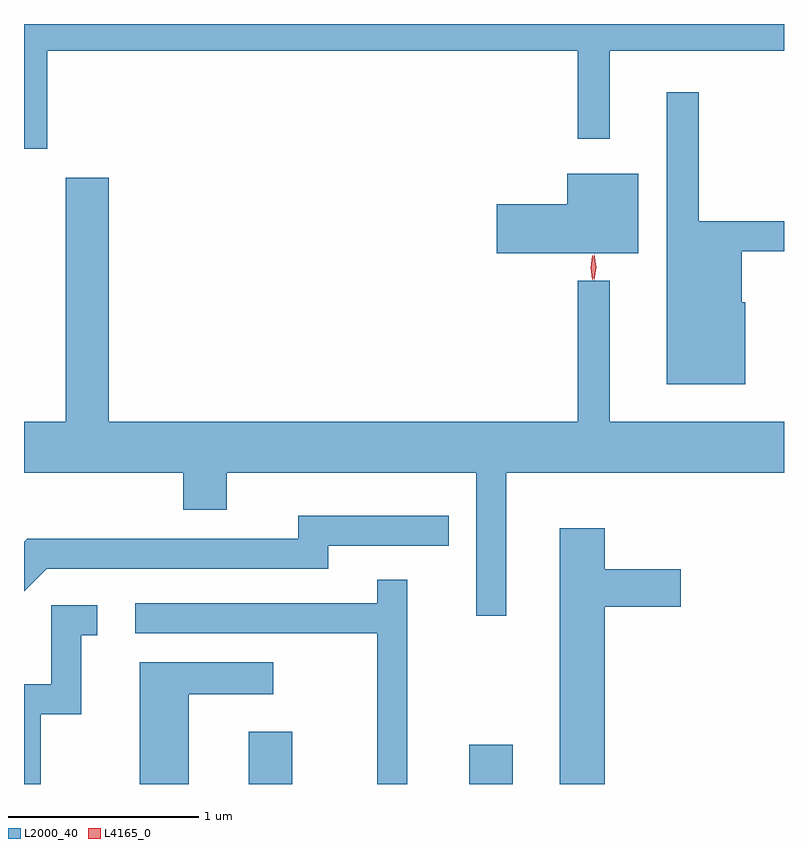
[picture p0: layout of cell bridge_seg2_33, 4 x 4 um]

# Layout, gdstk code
import gdstk
lib = gdstk.Library(unit=1e-6, precision=1e-09)
def R(c, l, rs):  # rectangles x0, y0, x1, y1
    for r in rs: c.add(gdstk.rectangle(r[:2], r[2:], *l))
def P(c, l, *ps):  # polygons
    for p in ps: c.add(gdstk.Polygon(p, *l))
L2000_40 = (2000, 40)
L4165_0 = (4165, 0)

bridge_seg2_33 = lib.new_cell('bridge_seg2_33')
R(bridge_seg2_33, L2000_40, [(1489.381,1046.678,1489.609,1046.954), (1490.541,1046.678,1490.769,1046.884)])
P(bridge_seg2_33, L2000_40, [(1492.197,1050.678),(1488.197,1050.678),(1488.197,1050.021),(1488.319,1050.021),(1488.319,1050.536),(1491.111,1050.536),(1491.111,1050.073),(1491.279,1050.073),(1491.279,1050.536),(1492.197,1050.536)],
  [(1491.994,1049.214),(1491.974,1049.214),(1491.974,1049.481),(1492.197,1049.481),(1492.197,1049.639),(1491.749,1049.639),(1491.749,1050.318),(1491.581,1050.318),(1491.581,1048.781),(1491.994,1048.781)],
  [(1491.429,1049.889),(1491.056,1049.889),(1491.056,1049.729),(1490.686,1049.729),(1490.686,1049.471),(1491.429,1049.471)],
  [(1490.734,1048.316),(1492.197,1048.316),(1492.197,1048.584),(1491.279,1048.584),(1491.279,1049.328),(1491.111,1049.328),(1491.111,1048.584),(1488.644,1048.584),(1488.644,1049.869),(1488.416,1049.869),(1488.416,1048.584),(1488.197,1048.584),(1488.197,1048.316),(1489.036,1048.316),(1489.036,1048.121),(1489.264,1048.121),(1489.264,1048.316),(1490.576,1048.316),(1490.576,1047.563),(1490.734,1047.563)],
  [(1488.317,1047.811),(1489.799,1047.811),(1489.799,1047.931),(1490.433,1047.931),(1490.433,1048.089),(1489.641,1048.089),(1489.641,1047.969),(1488.214,1047.969),(1488.197,1047.952),(1488.197,1047.692)],
  [(1491.254,1047.611),(1491.654,1047.611),(1491.654,1047.809),(1491.254,1047.809),(1491.254,1048.024),(1491.016,1048.024),(1491.016,1046.678),(1491.254,1046.678)],
  [(1490.214,1047.753),(1490.056,1047.753),(1490.056,1047.629),(1488.783,1047.629),(1488.783,1047.471),(1490.056,1047.471),(1490.056,1046.678),(1490.214,1046.678)],
  [(1488.284,1047.046),(1488.499,1047.046),(1488.499,1047.461),(1488.583,1047.461),(1488.583,1047.619),(1488.341,1047.619),(1488.341,1047.204),(1488.197,1047.204),(1488.197,1046.678),(1488.284,1046.678)],
  [(1489.064,1047.151),(1489.508,1047.151),(1489.508,1047.319),(1488.806,1047.319),(1488.806,1046.678),(1489.064,1046.678)])
P(bridge_seg2_33, L4165_0, [(1491.189,1049.333),(1491.179,1049.396),(1491.189,1049.459),(1491.189,1049.46),(1491.19,1049.459),(1491.199,1049.396),(1491.19,1049.333),(1491.19,1049.333)],
  [(1491.197,1049.33),(1491.197,1049.33),(1491.188,1049.398),(1491.198,1049.466),(1491.199,1049.466),(1491.199,1049.466),(1491.208,1049.398),(1491.198,1049.33)])

lib.write_gds('bridge_seg2_33.gds')
